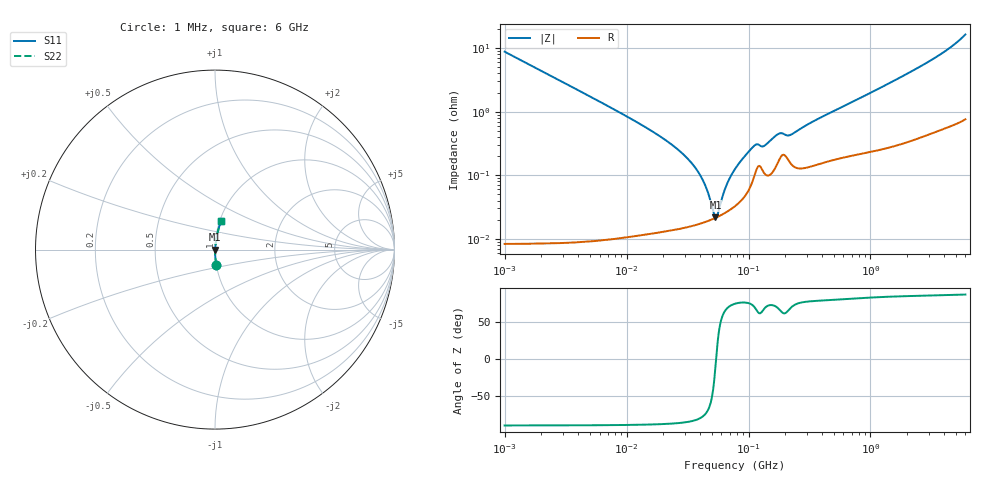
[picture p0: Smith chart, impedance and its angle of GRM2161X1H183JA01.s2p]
!Murata Part Number: GRM2161X1H183JA01
!These Parameters are Measured in Series Mode Connection
!Data Generated on Mar 30, 2021
!  o--ll--o
!Port1  Port2
!  o------o
!Operation Temp=25[degC], DC Bias Voltage=0[V]
!Freq. Start=1000[kHz] Stop=6[GHz] 401[Steps]
# Hz S RI R 50
!Freq.(Hz) S11(Real) S11(Imag) S21(Real) S21(Imag) S12(Real) S12(Imag) S22(Real) S22(Imag)
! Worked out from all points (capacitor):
!   401 points, 1 MHz to 6 GHz, reference 50 ohm
!   read as one part in series: C = 18.1 nF near 1.044 MHz
!   lowest |Z| = 21.8 mohm at 53.52 MHz (marker M1)
!   series resonance near 54.22 MHz, so ESL is about 470 pH
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1000000  0.00771 -0.087  0.9923 0.087  0.9923 0.087  0.00771 -0.087
4293785  0.0005 -0.0203  0.9995 0.0203  0.9995 0.0203  0.0005 -0.0203
1.843659e7  0.000143 -0.00419  0.9999 0.00419  0.9999 0.00419  0.000143 -0.00419
2.787038e7  0.00015 -0.00231  0.9999 0.00231  0.9999 0.00231  0.00015 -0.00231
3.697709e7  0.000167 -0.00127  0.9998 0.00127  0.9998 0.00127  0.000167 -0.00127
4.400437e7  0.000184 -0.000681  0.9998 0.000681  0.9998 0.000681  0.000184 -0.000681
4.697123e7  0.000192 -0.000467  0.9998 0.000467  0.9998 0.000467  0.000192 -0.000467
5.124051e7  0.000206 -0.000183  0.9998 0.000183  0.9998 0.000183  0.000206 -0.000183
5.351853e7  0.000214 -4.2e-05  0.9998 4.2e-05  0.9998 4.2e-05  0.000214 -4.2e-05
5.589783e7  0.000222 9.95e-05  0.9998 -9.95e-05  0.9998 -9.95e-05  0.000222 9.95e-05
6.23192e7  0.000248 0.000457  0.9998 -0.000457  0.9998 -0.000457  0.000248 0.000457
6.652088e7  0.000267 0.000675  0.9997 -0.000675  0.9997 -0.000675  0.000267 0.000675
7.745967e7  0.000327 0.00121  0.9997 -0.00121  0.9997 -0.00121  0.000327 0.00121
9.218041e7  0.000457 0.00189  0.9995 -0.00189  0.9995 -0.00189  0.000457 0.00189
1.121107e8  0.00101 0.00276  0.999 -0.00276  0.999 -0.00276  0.00101 0.00276
1.334167e8  0.00111 0.00265  0.9989 -0.00265  0.9989 -0.00265  0.00111 0.00265
1.770109e8  0.00171 0.00415  0.9983 -0.00415  0.9983 -0.00415  0.00171 0.00415
2.200158e8  0.00157 0.00399  0.9984 -0.00399  0.9984 -0.00399  0.00157 0.00399
3.325952e8  0.00143 0.00673  0.9986 -0.00673  0.9986 -0.00673  0.00143 0.00673
1.428092e9  0.00349 0.0278  0.9965 -0.0278  0.9965 -0.0278  0.00349 0.0278
3.483508e9  0.01 0.0717  0.99 -0.0717  0.99 -0.0717  0.01 0.0717
6e9  0.033 0.1568  0.967 -0.1568  0.967 -0.1568  0.033 0.1568
